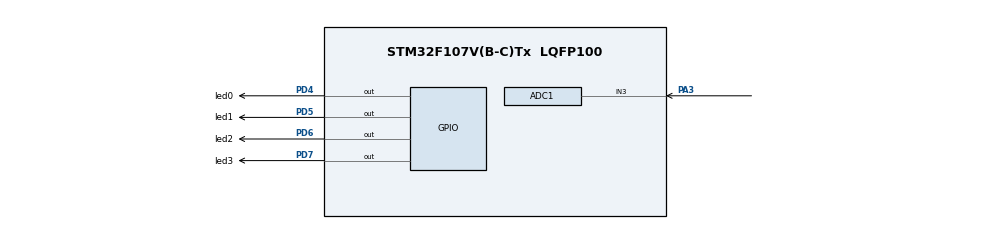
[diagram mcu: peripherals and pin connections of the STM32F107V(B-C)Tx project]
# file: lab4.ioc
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ADC1.Channel-0\#ChannelRegularConversion=ADC_CHANNEL_3
ADC1.NbrOfConversionFlag=1
ADC1.Rank-0\#ChannelRegularConversion=1
ADC1.SamplingTime-0\#ChannelRegularConversion=ADC_SAMPLETIME_1CYCLE_5
ADC1.master=1
Mcu.Family=STM32F1
Mcu.Name=STM32F107V(B-C)Tx
Mcu.Package=LQFP100
NVIC.PriorityGroup=NVIC_PRIORITYGROUP_4
OSC_IN.Mode=HSE-External-Oscillator
OSC_IN.Signal=RCC_OSC_IN
OSC_OUT.Mode=HSE-External-Oscillator
OSC_OUT.Signal=RCC_OSC_OUT
PA3.Signal=ADCx_IN3
PD4.GPIO_Label=led0
PD4.Signal=GPIO_Output
PD5.GPIO_Label=led1
PD5.Signal=GPIO_Output
PD6.GPIO_Label=led2
PD6.Signal=GPIO_Output
PD7.GPIO_Label=led3
PD7.Signal=GPIO_Output
ProjectManager.HeapSize=0x200
ProjectManager.StackSize=0x400
ProjectManager.TargetToolchain=MDK-ARM V5.32
RCC.USBFreq_Value=10666666.666666666
SH.ADCx_IN3.0=ADC1_IN3,IN3
VP_SYS_VS_ND.Mode=No_Debug
board=custom

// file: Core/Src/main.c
/* USER CODE BEGIN Header */
/**
  ******************************************************************************
  * @file           : main.c
  * @brief          : Main program body
  ******************************************************************************
  * @attention
  *
  * Copyright (c) 2025 STMicroelectronics.
  * All rights reserved.
  *
  * This software is licensed under terms that can be found in the LICENSE file
  * in the root directory of this software component.
  * If no LICENSE file comes with this software, it is provided AS-IS.
  *
  ******************************************************************************
  */
/* USER CODE END Header */
#include "main.h"

ADC_HandleTypeDef hadc1;

void SystemClock_Config(void);
static void MX_GPIO_Init(void);
static void MX_ADC1_Init(void);

/* USER CODE BEGIN 0 */
uint32_t adc_value;
/* USER CODE END 0 */

int main(void)
{

  /* MCU Configuration--------------------------------------------------------*/

  /* Reset of all peripherals, Initializes the Flash interface and the Systick. */
  HAL_Init();

  /* Configure the system clock */
  SystemClock_Config();

  /* Initialize all configured peripherals */
  MX_GPIO_Init();
  MX_ADC1_Init();
  /* USER CODE BEGIN 2 */

	uint16_t counter = 0;
	uint16_t delay = 0x1000;
  uint16_t new_delay= delay;
	/* USER CODE END 2 */

  /* Infinite loop */
  /* USER CODE BEGIN WHILE */
  while (1)
  {

		adc_value = 0;

		HAL_ADC_Start(&hadc1);

		if(HAL_ADC_PollForConversion(&hadc1, 100)==HAL_OK){
				adc_value = HAL_ADC_GetValue(&hadc1)/100;

				HAL_GPIO_WritePin(led0_GPIO_Port, led0_Pin, GPIO_PIN_SET);
				HAL_Delay(delay/adc_value);
				HAL_GPIO_WritePin(led0_GPIO_Port, led0_Pin, GPIO_PIN_RESET);

				HAL_GPIO_WritePin(led1_GPIO_Port, led1_Pin, GPIO_PIN_SET);
				HAL_Delay(delay/adc_value);
				HAL_GPIO_WritePin(led1_GPIO_Port, led1_Pin, GPIO_PIN_RESET);

				HAL_GPIO_WritePin(led2_GPIO_Port, led2_Pin, GPIO_PIN_SET);
				HAL_Delay(delay/adc_value);
				HAL_GPIO_WritePin(led2_GPIO_Port, led2_Pin, GPIO_PIN_RESET);

				HAL_GPIO_WritePin(led3_GPIO_Port, led3_Pin, GPIO_PIN_SET);
				HAL_Delay(delay/adc_value);
				HAL_GPIO_WritePin(led3_GPIO_Port, led3_Pin, GPIO_PIN_RESET);

				HAL_GPIO_WritePin(led2_GPIO_Port, led2_Pin, GPIO_PIN_SET);
				HAL_Delay(delay/adc_value);
				HAL_GPIO_WritePin(led2_GPIO_Port, led2_Pin, GPIO_PIN_RESET);

				HAL_GPIO_WritePin(led1_GPIO_Port, led1_Pin, GPIO_PIN_SET);
				HAL_Delay(delay/adc_value);
				HAL_GPIO_WritePin(led1_GPIO_Port, led1_Pin, GPIO_PIN_RESET);
		}

		HAL_Delay(100);

		HAL_ADC_Stop(&hadc1);
    /* USER CODE END WHILE */

  }
}

void SystemClock_Config(void)
{
  RCC_OscInitTypeDef RCC_OscInitStruct = {0};
  RCC_ClkInitTypeDef RCC_ClkInitStruct = {0};
  RCC_PeriphCLKInitTypeDef PeriphClkInit = {0};

  /** Initializes the RCC Oscillators according to the specified parameters
  * in the RCC_OscInitTypeDef structure.
  */
  RCC_OscInitStruct.OscillatorType = RCC_OSCILLATORTYPE_HSI;
  RCC_OscInitStruct.HSIState = RCC_HSI_ON;
  RCC_OscInitStruct.HSICalibrationValue = RCC_HSICALIBRATION_DEFAULT;
  RCC_OscInitStruct.PLL.PLLState = RCC_PLL_NONE;
  RCC_OscInitStruct.PLL2.PLL2State = RCC_PLL_NONE;
  if (HAL_RCC_OscConfig(&RCC_OscInitStruct) != HAL_OK)
  {
    Error_Handler();
  }

  /** Initializes the CPU, AHB and APB buses clocks
  */
  RCC_ClkInitStruct.ClockType = RCC_CLOCKTYPE_HCLK|RCC_CLOCKTYPE_SYSCLK
                              |RCC_CLOCKTYPE_PCLK1|RCC_CLOCKTYPE_PCLK2;
  RCC_ClkInitStruct.SYSCLKSource = RCC_SYSCLKSOURCE_HSI;
  RCC_ClkInitStruct.AHBCLKDivider = RCC_SYSCLK_DIV1;
  RCC_ClkInitStruct.APB1CLKDivider = RCC_HCLK_DIV1;
  RCC_ClkInitStruct.APB2CLKDivider = RCC_HCLK_DIV1;

  if (HAL_RCC_ClockConfig(&RCC_ClkInitStruct, FLASH_LATENCY_0) != HAL_OK)
  {
    Error_Handler();
  }
  PeriphClkInit.PeriphClockSelection = RCC_PERIPHCLK_ADC;
  PeriphClkInit.AdcClockSelection = RCC_ADCPCLK2_DIV2;
  if (HAL_RCCEx_PeriphCLKConfig(&PeriphClkInit) != HAL_OK)
  {
    Error_Handler();
  }

  /** Configure the Systick interrupt time
  */
  __HAL_RCC_PLLI2S_ENABLE();
}

static void MX_ADC1_Init(void)
{

  ADC_ChannelConfTypeDef sConfig = {0};

  /** Common config
  */
  hadc1.Instance = ADC1;
  hadc1.Init.ScanConvMode = ADC_SCAN_DISABLE;
  hadc1.Init.ContinuousConvMode = DISABLE;
  hadc1.Init.DiscontinuousConvMode = DISABLE;
  hadc1.Init.ExternalTrigConv = ADC_SOFTWARE_START;
  hadc1.Init.DataAlign = ADC_DATAALIGN_RIGHT;
  hadc1.Init.NbrOfConversion = 1;
  if (HAL_ADC_Init(&hadc1) != HAL_OK)
  {
    Error_Handler();
  }

  /** Configure Regular Channel
  */
  sConfig.Channel = ADC_CHANNEL_3;
  sConfig.Rank = ADC_REGULAR_RANK_1;
  sConfig.SamplingTime = ADC_SAMPLETIME_1CYCLE_5;
  if (HAL_ADC_ConfigChannel(&hadc1, &sConfig) != HAL_OK)
  {
    Error_Handler();
  }

}

static void MX_GPIO_Init(void)
{
  GPIO_InitTypeDef GPIO_InitStruct = {0};

  /* GPIO Ports Clock Enable */
  __HAL_RCC_GPIOA_CLK_ENABLE();
  __HAL_RCC_GPIOD_CLK_ENABLE();

  /*Configure GPIO pin Output Level */
  HAL_GPIO_WritePin(GPIOD, led0_Pin|led1_Pin|led2_Pin|led3_Pin, GPIO_PIN_RESET);

  /*Configure GPIO pins : led0_Pin led1_Pin led2_Pin led3_Pin */
  GPIO_InitStruct.Pin = led0_Pin|led1_Pin|led2_Pin|led3_Pin;
  GPIO_InitStruct.Mode = GPIO_MODE_OUTPUT_PP;
  GPIO_InitStruct.Pull = GPIO_NOPULL;
  GPIO_InitStruct.Speed = GPIO_SPEED_FREQ_LOW;
  HAL_GPIO_Init(GPIOD, &GPIO_InitStruct);

}

void Error_Handler(void)
{
  __disable_irq();
  while (1)
  {
  }
}
